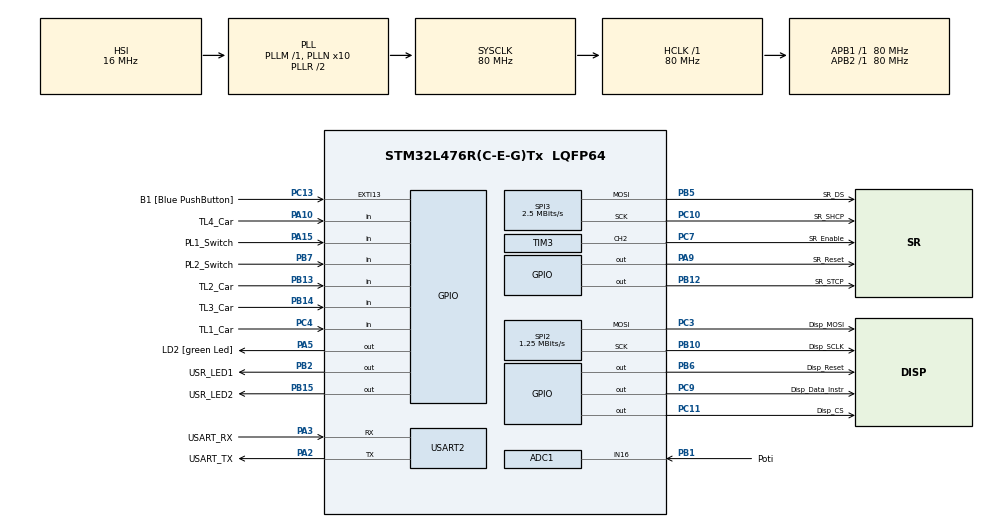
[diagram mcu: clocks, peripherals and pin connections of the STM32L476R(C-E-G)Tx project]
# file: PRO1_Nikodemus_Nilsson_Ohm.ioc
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ADC1.Channel-0\#ChannelRegularConversion=ADC_CHANNEL_16
ADC1.NbrOfConversionFlag=1
ADC1.OffsetNumber-0\#ChannelRegularConversion=ADC_OFFSET_NONE
ADC1.Rank-0\#ChannelRegularConversion=1
ADC1.SamplingTime-0\#ChannelRegularConversion=ADC_SAMPLETIME_2CYCLES_5
ADC1.master=1
FREERTOS.Tasks01=FSM_Task,41,1024,StartFSM_Task,Default,NULL,Dynamic,NULL,NULL;Input_Task,33,512,StartInputTask,Default,NULL,Dynamic,NULL,NULL;Output_Task,25,512,StartOutputTask,Default,NULL,Dynamic,NULL,NULL;Poti_Task,17,256,StartPotiTask,Default,NULL,Dynamic,NULL,NULL;OLED_Task,9,1024,StartOLEDTask,Default,NULL,Dynamic,NULL,NULL
FREERTOS.configTOTAL_HEAP_SIZE=25000
FREERTOS.configUSE_NEWLIB_REENTRANT=1
Mcu.Family=STM32L4
Mcu.Name=STM32L476R(C-E-G)Tx
Mcu.Package=LQFP64
NVIC.PriorityGroup=NVIC_PRIORITYGROUP_4
NVIC.TIM1_UP_TIM16_IRQn=true\:15\:0\:false\:false\:true\:false\:false\:true\:true
NVIC.TimeBase=TIM1_UP_TIM16_IRQn
NVIC.TimeBaseIP=TIM1
PA10.GPIO_Label=TL4_Car
PA10.GPIO_PuPd=GPIO_PULLDOWN
PA10.Signal=GPIO_Input
PA13\ (JTMS-SWDIO).GPIO_Label=TMS
PA13\ (JTMS-SWDIO).Mode=Serial_Wire
PA13\ (JTMS-SWDIO).Signal=SYS_JTMS-SWDIO
PA14\ (JTCK-SWCLK).GPIO_Label=TCK
PA14\ (JTCK-SWCLK).Mode=Serial_Wire
PA14\ (JTCK-SWCLK).Signal=SYS_JTCK-SWCLK
PA15\ (JTDI).GPIO_Label=PL1_Switch
PA15\ (JTDI).GPIO_PuPd=GPIO_PULLUP
PA15\ (JTDI).Signal=GPIO_Input
PA2.GPIO_Label=USART_TX
PA2.GPIO_Mode=GPIO_MODE_AF_PP
PA2.GPIO_PuPd=GPIO_NOPULL
PA2.GPIO_Speed=GPIO_SPEED_FREQ_VERY_HIGH
PA2.Mode=Asynchronous
PA2.Signal=USART2_TX
PA3.GPIO_Label=USART_RX
PA3.GPIO_Mode=GPIO_MODE_AF_PP
PA3.GPIO_PuPd=GPIO_NOPULL
PA3.GPIO_Speed=GPIO_SPEED_FREQ_VERY_HIGH
PA3.Mode=Asynchronous
PA3.Signal=USART2_RX
PA5.GPIO_Label=LD2 [green Led]
PA5.GPIO_ModeDefaultOutputPP=GPIO_MODE_OUTPUT_PP
PA5.GPIO_PuPd=GPIO_NOPULL
PA5.GPIO_Speed=GPIO_SPEED_FREQ_LOW
PA5.Signal=GPIO_Output
PA9.GPIO_Label=SR_Reset
PA9.PinState=GPIO_PIN_SET
PA9.Signal=GPIO_Output
PB1.GPIO_Label=Poti
PB1.Signal=ADCx_IN16
PB10.GPIO_Label=Disp_SCLK
PB10.GPIO_Speed=GPIO_SPEED_FREQ_VERY_HIGH
PB10.Mode=TX_Only_Simplex_Unidirect_Master
PB10.Signal=SPI2_SCK
PB12.GPIO_Label=SR_STCP
PB12.GPIO_Speed=GPIO_SPEED_FREQ_HIGH
PB12.Signal=GPIO_Output
PB13.GPIO_Label=TL2_Car
PB13.GPIO_PuPd=GPIO_PULLDOWN
PB13.Signal=GPIO_Input
PB14.GPIO_Label=TL3_Car
PB14.GPIO_PuPd=GPIO_PULLDOWN
PB14.Signal=GPIO_Input
PB15.GPIO_Label=USR_LED2
PB15.Signal=GPIO_Output
PB2.GPIO_Label=USR_LED1
PB2.Signal=GPIO_Output
PB3\ (JTDO-TRACESWO).GPIO_Label=SWO
PB3\ (JTDO-TRACESWO).Signal=SYS_JTDO-SWO
PB5.GPIO_Label=SR_DS
PB5.Mode=TX_Only_Simplex_Unidirect_Master
PB5.Signal=SPI3_MOSI
PB6.GPIO_Label=Disp_Reset
PB6.PinState=GPIO_PIN_SET
PB6.Signal=GPIO_Output
PB7.GPIO_Label=PL2_Switch
PB7.GPIO_PuPd=GPIO_PULLUP
PB7.Signal=GPIO_Input
PC10.GPIO_Label=SR_SHCP
PC10.Mode=TX_Only_Simplex_Unidirect_Master
PC10.Signal=SPI3_SCK
PC11.GPIO_Label=Disp_CS
PC11.GPIO_Speed=GPIO_SPEED_FREQ_HIGH
PC11.PinState=GPIO_PIN_SET
PC11.Signal=GPIO_Output
PC13.GPIO_Label=B1 [Blue PushButton]
PC13.GPIO_ModeDefaultEXTI=GPIO_MODE_IT_FALLING
PC13.GPIO_PuPd=GPIO_NOPULL
PC13.Signal=GPXTI13
PC14-OSC32_IN\ (PC14).Mode=LSE-External-Oscillator
PC14-OSC32_IN\ (PC14).Signal=RCC_OSC32_IN
PC15-OSC32_OUT\ (PC15).Mode=LSE-External-Oscillator
PC15-OSC32_OUT\ (PC15).Signal=RCC_OSC32_OUT
PC3.GPIO_Label=Disp_MOSI
PC3.Mode=TX_Only_Simplex_Unidirect_Master
PC3.Signal=SPI2_MOSI
PC4.GPIO_Label=TL1_Car
PC4.GPIO_PuPd=GPIO_PULLDOWN
PC4.Signal=GPIO_Input
PC7.GPIO_Label=SR_Enable
PC7.Signal=S_TIM3_CH2
PC9.GPIO_Label=Disp_Data_Instr
PC9.GPIO_Speed=GPIO_SPEED_FREQ_HIGH
PC9.Signal=GPIO_Output
PH0-OSC_IN\ (PH0).Signal=RCC_OSC_IN
PH1-OSC_OUT\ (PH1).Signal=RCC_OSC_OUT
ProjectManager.HeapSize=0x200
ProjectManager.StackSize=0x400
ProjectManager.TargetToolchain=STM32CubeIDE
RCC.ADCFreq_Value=64000000
RCC.AHBFreq_Value=80000000
RCC.APB1Freq_Value=80000000
RCC.APB1TimFreq_Value=80000000
RCC.APB2Freq_Value=80000000
RCC.APB2TimFreq_Value=80000000
RCC.CortexFreq_Value=80000000
RCC.HCLKFreq_Value=80000000
RCC.HSE_VALUE=8000000
RCC.HSI_VALUE=16000000
RCC.MSI_VALUE=4000000
RCC.PLLN=10
RCC.PLLSourceVirtual=RCC_PLLSOURCE_HSI
RCC.PREFETCH_ENABLE=1
RCC.SYSCLKFreq_VALUE=80000000
RCC.SYSCLKSource=RCC_SYSCLKSOURCE_PLLCLK
RCC.USBFreq_Value=64000000
RCC.VCOOutputFreq_Value=160000000
SH.ADCx_IN16.0=ADC1_IN16,IN16-Single-Ended
SH.S_TIM3_CH2.0=TIM3_CH2,PWM Generation2 CH2
SPI2.BaudRatePrescaler=SPI_BAUDRATEPRESCALER_64
SPI2.CLKPhase=SPI_PHASE_1EDGE
SPI2.CLKPolarity=SPI_POLARITY_LOW
SPI2.CalculateBaudRate=1.25 MBits/s
SPI2.DataSize=SPI_DATASIZE_8BIT
SPI2.Direction=SPI_DIRECTION_2LINES
SPI2.Mode=SPI_MODE_MASTER
SPI2.VirtualType=VM_MASTER
SPI3.BaudRatePrescaler=SPI_BAUDRATEPRESCALER_32
SPI3.CalculateBaudRate=2.5 MBits/s
SPI3.DataSize=SPI_DATASIZE_8BIT
SPI3.Direction=SPI_DIRECTION_2LINES
SPI3.Mode=SPI_MODE_MASTER
SPI3.VirtualType=VM_MASTER
TIM3.Channel-PWM\ Generation2\ CH2=TIM_CHANNEL_2
TIM3.Period=4095
TIM3.Prescaler=4
USART2.VirtualMode-Asynchronous=VM_ASYNC
VP_FREERTOS_VS_CMSIS_V2.Mode=CMSIS_V2
VP_SYS_VS_tim1.Mode=TIM1
board=NUCLEO-L476RG

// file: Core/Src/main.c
/* USER CODE BEGIN Header */
/**
  ******************************************************************************
  * @file           : main.c
  * @brief          : Main program body
  ******************************************************************************
  * @attention
  *
  * Copyright (c) 2026 STMicroelectronics.
  * All rights reserved.
  *
  * This software is licensed under terms that can be found in the LICENSE file
  * in the root directory of this software component.
  * If no LICENSE file comes with this software, it is provided AS-IS.
  *
  ******************************************************************************
  */
/* USER CODE END Header */
#include "main.h"
#include "cmsis_os.h"
#include "adc.h"
#include "spi.h"
#include "tim.h"
#include "usart.h"
#include "gpio.h"

/* USER CODE BEGIN Includes */
#include "test.h"
/* USER CODE END Includes */

/* USER CODE BEGIN PD */
#define RUN_TEST_PROGRAM

/* USER CODE END PD */

void SystemClock_Config(void);
void MX_FREERTOS_Init(void);

int main(void)
{

  /* MCU Configuration--------------------------------------------------------*/

  /* Reset of all peripherals, Initializes the Flash interface and the Systick. */
  HAL_Init();

  /* Configure the system clock */
  SystemClock_Config();

  /* Initialize all configured peripherals */
  MX_GPIO_Init();
  MX_USART2_UART_Init();
  MX_SPI2_Init();
  MX_SPI3_Init();
  MX_ADC1_Init();
  MX_TIM3_Init();
  /* USER CODE BEGIN 2 */
	#ifdef RUN_TEST_PROGRAM
		Test_program();
		while(1);
	#endif

  /* USER CODE END 2 */

  /* Init scheduler */
  osKernelInitialize();  /* Call init function for freertos objects (in cmsis_os2.c) */
  MX_FREERTOS_Init();

  /* Start scheduler */
  osKernelStart();

  /* We should never get here as control is now taken by the scheduler */

  /* Infinite loop */
  while (1)
  {

  }
}

void SystemClock_Config(void)
{
  RCC_OscInitTypeDef RCC_OscInitStruct = {0};
  RCC_ClkInitTypeDef RCC_ClkInitStruct = {0};

  /** Configure the main internal regulator output voltage
  */
  if (HAL_PWREx_ControlVoltageScaling(PWR_REGULATOR_VOLTAGE_SCALE1) != HAL_OK)
  {
    Error_Handler();
  }

  /** Initializes the RCC Oscillators according to the specified parameters
  * in the RCC_OscInitTypeDef structure.
  */
  RCC_OscInitStruct.OscillatorType = RCC_OSCILLATORTYPE_HSI;
  RCC_OscInitStruct.HSIState = RCC_HSI_ON;
  RCC_OscInitStruct.HSICalibrationValue = RCC_HSICALIBRATION_DEFAULT;
  RCC_OscInitStruct.PLL.PLLState = RCC_PLL_ON;
  RCC_OscInitStruct.PLL.PLLSource = RCC_PLLSOURCE_HSI;
  RCC_OscInitStruct.PLL.PLLM = 1;
  RCC_OscInitStruct.PLL.PLLN = 10;
  RCC_OscInitStruct.PLL.PLLP = RCC_PLLP_DIV7;
  RCC_OscInitStruct.PLL.PLLQ = RCC_PLLQ_DIV2;
  RCC_OscInitStruct.PLL.PLLR = RCC_PLLR_DIV2;
  if (HAL_RCC_OscConfig(&RCC_OscInitStruct) != HAL_OK)
  {
    Error_Handler();
  }

  /** Initializes the CPU, AHB and APB buses clocks
  */
  RCC_ClkInitStruct.ClockType = RCC_CLOCKTYPE_HCLK|RCC_CLOCKTYPE_SYSCLK
                              |RCC_CLOCKTYPE_PCLK1|RCC_CLOCKTYPE_PCLK2;
  RCC_ClkInitStruct.SYSCLKSource = RCC_SYSCLKSOURCE_PLLCLK;
  RCC_ClkInitStruct.AHBCLKDivider = RCC_SYSCLK_DIV1;
  RCC_ClkInitStruct.APB1CLKDivider = RCC_HCLK_DIV1;
  RCC_ClkInitStruct.APB2CLKDivider = RCC_HCLK_DIV1;

  if (HAL_RCC_ClockConfig(&RCC_ClkInitStruct, FLASH_LATENCY_4) != HAL_OK)
  {
    Error_Handler();
  }
}

void HAL_TIM_PeriodElapsedCallback(TIM_HandleTypeDef *htim)
{
  if (htim->Instance == TIM1)
  {
    HAL_IncTick();
  }
}

void Error_Handler(void)
{
  __disable_irq();
  while (1)
  {
  }
}

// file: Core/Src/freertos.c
/* USER CODE BEGIN Header */
/**
  ******************************************************************************
  * File Name          : freertos.c
  * Description        : Code for freertos applications
  ******************************************************************************
  * @attention
  *
  * Copyright (c) 2026 STMicroelectronics.
  * All rights reserved.
  *
  * This software is licensed under terms that can be found in the LICENSE file
  * in the root directory of this software component.
  * If no LICENSE file comes with this software, it is provided AS-IS.
  *
  ******************************************************************************
  */
/* USER CODE END Header */

#include "FreeRTOS.h"
#include "task.h"
#include "main.h"
#include "cmsis_os.h"

/* USER CODE BEGIN Includes */
#include "semphr.h"
#include "View/TrafficLight_SPI_Driver.h"
#include "View/OLED_View.h"
#include "Model/traffic_state.h"
#include "ssd1306.h"
#include "Model/traffic_state.h"
#include "Model/FSM.h"
#include "Controller/InputController.h"
#include "Controller/Potentiometer_Controller.h"
/* USER CODE END Includes */

/* USER CODE BEGIN Variables */
SemaphoreHandle_t outputMutex;
SemaphoreHandle_t inputMutex;

extern TIM_HandleTypeDef htim3;
/* USER CODE END Variables */
/* Definitions for FSM_Task */
osThreadId_t FSM_TaskHandle;
const osThreadAttr_t FSM_Task_attributes = {
  .name = "FSM_Task",
  .stack_size = 1024 * 4,
  .priority = (osPriority_t) osPriorityHigh1,
};
/* Definitions for Input_Task */
osThreadId_t Input_TaskHandle;
const osThreadAttr_t Input_Task_attributes = {
  .name = "Input_Task",
  .stack_size = 512 * 4,
  .priority = (osPriority_t) osPriorityAboveNormal1,
};
/* Definitions for Output_Task */
osThreadId_t Output_TaskHandle;
const osThreadAttr_t Output_Task_attributes = {
  .name = "Output_Task",
  .stack_size = 512 * 4,
  .priority = (osPriority_t) osPriorityNormal1,
};
/* Definitions for Poti_Task */
osThreadId_t Poti_TaskHandle;
const osThreadAttr_t Poti_Task_attributes = {
  .name = "Poti_Task",
  .stack_size = 256 * 4,
  .priority = (osPriority_t) osPriorityBelowNormal1,
};
/* Definitions for OLED_Task */
osThreadId_t OLED_TaskHandle;
const osThreadAttr_t OLED_Task_attributes = {
  .name = "OLED_Task",
  .stack_size = 1024 * 4,
  .priority = (osPriority_t) osPriorityLow1,
};

/* USER CODE BEGIN FunctionPrototypes */
void Read_Potentiometer(void);
void Set_TrafficLights(LightsState_t* lightsState);
void update_OLED(LightsState_t* lightsState);
void readAndSet(InputState_t* input);
void readAndSetInputsState(void);
/* USER CODE END FunctionPrototypes */

void StartFSM_Task(void *argument);
void StartInputTask(void *argument);
void StartOutputTask(void *argument);
void StartPotiTask(void *argument);
void StartOLEDTask(void *argument);

void MX_FREERTOS_Init(void); /* (MISRA C 2004 rule 8.1) */

void MX_FREERTOS_Init(void) {
  /* USER CODE BEGIN Init */
	HAL_TIM_PWM_Start(&htim3, TIM_CHANNEL_2);
	State_Init();
	ssd1306_Init();
  /* USER CODE END Init */

  /* USER CODE BEGIN RTOS_MUTEX */
  /* add mutexes, ... */

  outputMutex = xSemaphoreCreateMutex();
  inputMutex = xSemaphoreCreateMutex();

  /* USER CODE END RTOS_MUTEX */

  /* Create the thread(s) */
  /* creation of FSM_Task */
  FSM_TaskHandle = osThreadNew(StartFSM_Task, NULL, &FSM_Task_attributes);

  /* creation of Input_Task */
  Input_TaskHandle = osThreadNew(StartInputTask, NULL, &Input_Task_attributes);

  /* creation of Output_Task */
  Output_TaskHandle = osThreadNew(StartOutputTask, NULL, &Output_Task_attributes);

  /* creation of Poti_Task */
  Poti_TaskHandle = osThreadNew(StartPotiTask, NULL, &Poti_Task_attributes);

  /* creation of OLED_Task */
  OLED_TaskHandle = osThreadNew(StartOLEDTask, NULL, &OLED_Task_attributes);

}

void StartFSM_Task(void *argument)
{
  /* USER CODE BEGIN StartFSM_Task */
  /* Infinite loop */
	FSM_Init();
	InputState_t inputState;

	for(;;)
	{
	  if (xSemaphoreTake(inputMutex, portMAX_DELAY) == pdTRUE)
	  {
		  inputState = *Return_InputState();
		  xSemaphoreGive(inputMutex);
	  }

	  if (xSemaphoreTake(outputMutex, portMAX_DELAY) == pdTRUE)
	  {
		  readAndSet(&inputState);
		  xSemaphoreGive(outputMutex);
	  }

	  osDelay(10);
  }
  /* USER CODE END StartFSM_Task */
}

void StartInputTask(void *argument)
{
  /* USER CODE BEGIN StartInputTask */
  for(;;)
  {
	  if (xSemaphoreTake(inputMutex, portMAX_DELAY) == pdTRUE)
	  {
		  readAndSetInputsState();
		  xSemaphoreGive(inputMutex);
	  }

	  osDelay(10);
  }
  /* USER CODE END StartInputTask */
}

void StartOutputTask(void *argument)
{
  /* USER CODE BEGIN StartOutputTask */
  /* Infinite loop */
	LightsState_t lightsState;

	HAL_GPIO_WritePin(SR_Reset_GPIO_Port, SR_Reset_Pin, GPIO_PIN_SET);

	for(;;)
	{
		if (xSemaphoreTake(outputMutex, portMAX_DELAY) == pdTRUE)
		{
			lightsState = *Return_LightsState();
			xSemaphoreGive(outputMutex);
		}

		Set_TrafficLights(&lightsState);

		osDelay(100);
	}
  /* USER CODE END StartOutputTask */
}

void StartPotiTask(void *argument)
{
  /* USER CODE BEGIN StartPotiTask */
  /* Infinite loop */
	for(;;)
	{
		Read_Potentiometer();
	  osDelay(100);
	}
  /* USER CODE END StartPotiTask */
}

void StartOLEDTask(void *argument)
{
  /* USER CODE BEGIN StartOLEDTask */
	/* Infinite loop */
	LightsState_t lightsState;

	for(;;)
	{
		if (xSemaphoreTake(outputMutex, portMAX_DELAY) == pdTRUE)
		{
			lightsState = *Return_LightsState();
			xSemaphoreGive(outputMutex);
		}

		update_OLED(&lightsState);

		osDelay(20);
	}
  /* USER CODE END StartOLEDTask */
}
